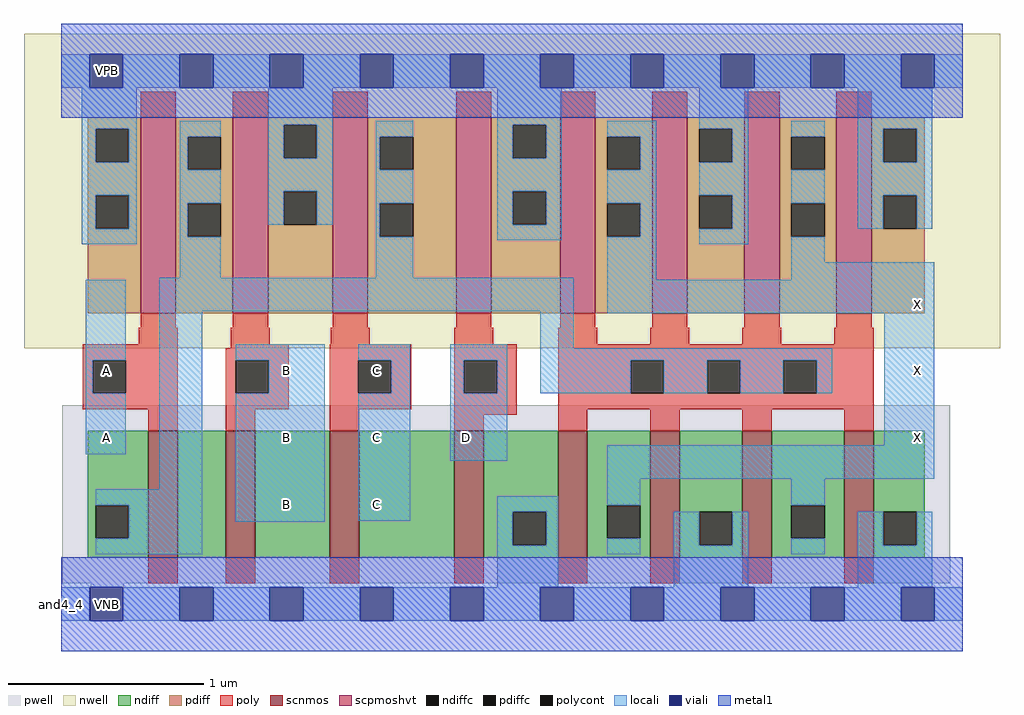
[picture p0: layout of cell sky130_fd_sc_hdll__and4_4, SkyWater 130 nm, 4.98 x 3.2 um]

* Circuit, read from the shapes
.subckt sky130_fd_sc_hdll__and4_4 A B C D VGND VNB VPB VPWR X
XM1 n1 A n2 VNB sky130_fd_pr__nfet_01v8 w=0.65 l=0.15
XM2 n3 B n1 VNB sky130_fd_pr__nfet_01v8 w=0.65 l=0.15
XM3 n4 C n3 VNB sky130_fd_pr__nfet_01v8 w=0.65 l=0.15
XM4 VGND D n4 VNB sky130_fd_pr__nfet_01v8 w=0.65 l=0.15
XM5 X n2 VGND VNB sky130_fd_pr__nfet_01v8 w=0.65 l=0.15 m=4
XM6 n2 A VPWR VPB sky130_fd_pr__pfet_01v8_hvt w=1 l=0.18
XM7 VPWR B n2 VPB sky130_fd_pr__pfet_01v8_hvt w=1 l=0.18
XM8 n2 C VPWR VPB sky130_fd_pr__pfet_01v8_hvt w=1 l=0.18
XM9 VPWR D n2 VPB sky130_fd_pr__pfet_01v8_hvt w=1 l=0.18
XM10 X n2 VPWR VPB sky130_fd_pr__pfet_01v8_hvt w=1 l=0.18 m=4
.ends

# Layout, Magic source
magic
tech sky130A
magscale 1 2
<< nwell >>
rect -38 261 958 582
<< pwell >>
rect 1 21 907 203
rect 30 -17 64 21
<< scnmos >>
rect 89 47 119 177
rect 168 47 198 177
rect 274 47 304 177
rect 401 47 431 177
rect 507 47 537 177
rect 601 47 631 177
rect 695 47 725 177
rect 799 47 829 177
<< scpmoshvt >>
rect 81 297 117 497
rect 175 297 211 497
rect 277 297 313 497
rect 403 297 439 497
rect 509 297 545 497
rect 603 297 639 497
rect 697 297 733 497
rect 791 297 827 497
<< ndiff >>
rect 27 101 89 177
rect 27 67 35 101
rect 69 67 89 101
rect 27 47 89 67
rect 119 47 168 177
rect 198 47 274 177
rect 304 47 401 177
rect 431 94 507 177
rect 431 60 461 94
rect 495 60 507 94
rect 431 47 507 60
rect 537 101 601 177
rect 537 67 557 101
rect 591 67 601 101
rect 537 47 601 67
rect 631 94 695 177
rect 631 60 651 94
rect 685 60 695 94
rect 631 47 695 60
rect 725 101 799 177
rect 725 67 745 101
rect 779 67 799 101
rect 725 47 799 67
rect 829 94 881 177
rect 829 60 839 94
rect 873 60 881 94
rect 829 47 881 60
<< pdiff >>
rect 27 485 81 497
rect 27 451 35 485
rect 69 451 81 485
rect 27 417 81 451
rect 27 383 35 417
rect 69 383 81 417
rect 27 297 81 383
rect 117 477 175 497
rect 117 443 129 477
rect 163 443 175 477
rect 117 409 175 443
rect 117 375 129 409
rect 163 375 175 409
rect 117 297 175 375
rect 211 489 277 497
rect 211 455 227 489
rect 261 455 277 489
rect 211 421 277 455
rect 211 387 227 421
rect 261 387 277 421
rect 211 297 277 387
rect 313 477 403 497
rect 313 443 325 477
rect 359 443 403 477
rect 313 409 403 443
rect 313 375 325 409
rect 359 375 403 409
rect 313 297 403 375
rect 439 489 509 497
rect 439 455 461 489
rect 495 455 509 489
rect 439 421 509 455
rect 439 387 461 421
rect 495 387 509 421
rect 439 297 509 387
rect 545 477 603 497
rect 545 443 557 477
rect 591 443 603 477
rect 545 409 603 443
rect 545 375 557 409
rect 591 375 603 409
rect 545 297 603 375
rect 639 485 697 497
rect 639 451 651 485
rect 685 451 697 485
rect 639 417 697 451
rect 639 383 651 417
rect 685 383 697 417
rect 639 297 697 383
rect 733 477 791 497
rect 733 443 745 477
rect 779 443 791 477
rect 733 409 791 443
rect 733 375 745 409
rect 779 375 791 409
rect 733 297 791 375
rect 827 485 881 497
rect 827 451 839 485
rect 873 451 881 485
rect 827 417 881 451
rect 827 383 839 417
rect 873 383 881 417
rect 827 297 881 383
<< ndiffc >>
rect 35 67 69 101
rect 461 60 495 94
rect 557 67 591 101
rect 651 60 685 94
rect 745 67 779 101
rect 839 60 873 94
<< pdiffc >>
rect 35 451 69 485
rect 35 383 69 417
rect 129 443 163 477
rect 129 375 163 409
rect 227 455 261 489
rect 227 387 261 421
rect 325 443 359 477
rect 325 375 359 409
rect 461 455 495 489
rect 461 387 495 421
rect 557 443 591 477
rect 557 375 591 409
rect 651 451 685 485
rect 651 383 685 417
rect 745 443 779 477
rect 745 375 779 409
rect 839 451 873 485
rect 839 383 873 417
<< poly >>
rect 81 497 117 523
rect 175 497 211 523
rect 277 497 313 523
rect 403 497 439 523
rect 509 497 545 523
rect 603 497 639 523
rect 697 497 733 523
rect 791 497 827 523
rect 81 282 117 297
rect 175 282 211 297
rect 277 282 313 297
rect 403 282 439 297
rect 509 282 545 297
rect 603 282 639 297
rect 697 282 733 297
rect 791 282 827 297
rect 79 265 119 282
rect 22 249 119 265
rect 173 265 213 282
rect 275 265 315 282
rect 401 265 441 282
rect 507 265 547 282
rect 601 265 641 282
rect 695 265 735 282
rect 789 265 829 282
rect 173 261 232 265
rect 22 215 32 249
rect 66 215 119 249
rect 22 199 119 215
rect 89 177 119 199
rect 168 249 232 261
rect 168 215 178 249
rect 212 215 232 249
rect 168 199 232 215
rect 274 249 357 265
rect 274 215 303 249
rect 337 215 357 249
rect 274 199 357 215
rect 401 249 465 265
rect 401 215 411 249
rect 445 215 465 249
rect 168 177 198 199
rect 274 177 304 199
rect 401 193 465 215
rect 507 249 829 265
rect 507 215 581 249
rect 615 215 659 249
rect 693 215 737 249
rect 771 215 829 249
rect 507 199 829 215
rect 401 177 431 193
rect 507 177 537 199
rect 601 177 631 199
rect 695 177 725 199
rect 799 177 829 199
rect 89 21 119 47
rect 168 21 198 47
rect 274 21 304 47
rect 401 21 431 47
rect 507 21 537 47
rect 601 21 631 47
rect 695 21 725 47
rect 799 21 829 47
<< polycont >>
rect 32 215 66 249
rect 178 215 212 249
rect 303 215 337 249
rect 411 215 445 249
rect 581 215 615 249
rect 659 215 693 249
rect 737 215 771 249
<< locali >>
rect 0 527 29 561
rect 63 527 121 561
rect 155 527 213 561
rect 247 527 305 561
rect 339 527 397 561
rect 431 527 489 561
rect 523 527 581 561
rect 615 527 673 561
rect 707 527 765 561
rect 799 527 857 561
rect 891 527 920 561
rect 21 485 77 527
rect 21 451 35 485
rect 69 451 77 485
rect 21 417 77 451
rect 21 383 35 417
rect 69 383 77 417
rect 21 367 77 383
rect 121 477 163 493
rect 121 443 129 477
rect 121 409 163 443
rect 121 375 129 409
rect 211 489 277 527
rect 211 455 227 489
rect 261 455 277 489
rect 211 421 277 455
rect 211 387 227 421
rect 261 387 277 421
rect 321 477 359 493
rect 321 443 325 477
rect 321 409 359 443
rect 121 333 163 375
rect 321 375 325 409
rect 321 333 359 375
rect 445 489 511 527
rect 445 455 461 489
rect 495 455 511 489
rect 445 421 511 455
rect 445 387 461 421
rect 495 387 511 421
rect 445 371 511 387
rect 557 477 607 493
rect 591 443 607 477
rect 557 409 607 443
rect 591 375 607 409
rect 25 249 66 331
rect 25 215 32 249
rect 25 153 66 215
rect 100 299 523 333
rect 100 117 144 299
rect 35 101 144 117
rect 69 67 144 101
rect 178 249 269 265
rect 212 215 269 249
rect 178 84 269 215
rect 303 249 356 265
rect 337 215 356 249
rect 303 85 356 215
rect 397 249 455 265
rect 397 215 411 249
rect 445 215 455 249
rect 489 261 523 299
rect 557 331 607 375
rect 651 485 701 527
rect 685 451 701 485
rect 651 417 701 451
rect 685 383 701 417
rect 651 367 701 383
rect 745 477 779 493
rect 745 409 779 443
rect 813 485 889 527
rect 813 451 839 485
rect 873 451 889 485
rect 813 417 889 451
rect 813 383 839 417
rect 873 383 889 417
rect 745 349 779 375
rect 745 331 891 349
rect 557 297 891 331
rect 489 249 787 261
rect 489 215 581 249
rect 615 215 659 249
rect 693 215 737 249
rect 771 215 787 249
rect 397 146 455 215
rect 840 162 891 297
rect 557 128 891 162
rect 445 94 507 110
rect 35 51 144 67
rect 445 60 461 94
rect 495 60 507 94
rect 445 17 507 60
rect 557 101 591 128
rect 745 101 779 128
rect 557 51 591 67
rect 625 60 651 94
rect 685 60 701 94
rect 625 17 701 60
rect 745 51 779 67
rect 813 60 839 94
rect 873 60 889 94
rect 813 17 889 60
rect 0 -17 29 17
rect 63 -17 121 17
rect 155 -17 213 17
rect 247 -17 305 17
rect 339 -17 397 17
rect 431 -17 489 17
rect 523 -17 581 17
rect 615 -17 673 17
rect 707 -17 765 17
rect 799 -17 857 17
rect 891 -17 920 17
<< viali >>
rect 29 527 63 561
rect 121 527 155 561
rect 213 527 247 561
rect 305 527 339 561
rect 397 527 431 561
rect 489 527 523 561
rect 581 527 615 561
rect 673 527 707 561
rect 765 527 799 561
rect 857 527 891 561
rect 29 -17 63 17
rect 121 -17 155 17
rect 213 -17 247 17
rect 305 -17 339 17
rect 397 -17 431 17
rect 489 -17 523 17
rect 581 -17 615 17
rect 673 -17 707 17
rect 765 -17 799 17
rect 857 -17 891 17
<< metal1 >>
rect 0 561 920 592
rect 0 527 29 561
rect 63 527 121 561
rect 155 527 213 561
rect 247 527 305 561
rect 339 527 397 561
rect 431 527 489 561
rect 523 527 581 561
rect 615 527 673 561
rect 707 527 765 561
rect 799 527 857 561
rect 891 527 920 561
rect 0 496 920 527
rect 0 17 920 48
rect 0 -17 29 17
rect 63 -17 121 17
rect 155 -17 213 17
rect 247 -17 305 17
rect 339 -17 397 17
rect 431 -17 489 17
rect 523 -17 581 17
rect 615 -17 673 17
rect 707 -17 765 17
rect 799 -17 857 17
rect 891 -17 920 17
rect 0 -48 920 -17
<< labels >>
flabel locali s 857 153 891 187 0 FreeSans 200 0 0 0 X
port 9 nsew signal output
flabel locali s 857 221 891 255 0 FreeSans 200 0 0 0 X
port 9 nsew signal output
flabel locali s 305 85 339 119 0 FreeSans 200 0 0 0 C
port 3 nsew signal input
flabel locali s 29 221 63 255 0 FreeSans 200 0 0 0 A
port 1 nsew signal input
flabel locali s 213 85 247 119 0 FreeSans 200 0 0 0 B
port 2 nsew signal input
flabel locali s 397 153 431 187 0 FreeSans 200 0 0 0 D
port 4 nsew signal input
flabel locali s 857 289 891 323 0 FreeSans 200 0 0 0 X
port 9 nsew signal output
flabel locali s 305 221 339 255 0 FreeSans 200 0 0 0 C
port 3 nsew signal input
flabel locali s 305 153 339 187 0 FreeSans 200 0 0 0 C
port 3 nsew signal input
flabel locali s 213 221 247 255 0 FreeSans 200 0 0 0 B
port 2 nsew signal input
flabel locali s 213 153 247 187 0 FreeSans 200 0 0 0 B
port 2 nsew signal input
flabel locali s 29 153 63 187 0 FreeSans 200 0 0 0 A
port 1 nsew signal input
flabel pwell s 30 -17 64 17 0 FreeSans 200 0 0 0 VNB
port 6 nsew ground bidirectional
flabel nwell s 30 527 64 561 0 FreeSans 200 0 0 0 VPB
port 7 nsew power bidirectional
flabel metal1 s 30 -17 64 17 0 FreeSans 200 0 0 0 VGND
port 5 nsew ground bidirectional
flabel metal1 s 30 527 64 561 0 FreeSans 200 0 0 0 VPWR
port 8 nsew power bidirectional
rlabel comment s 0 0 0 0 4 and4_4
<< properties >>
string LEFsite unithd
string LEFclass CORE
string FIXED_BBOX 0 0 920 544
string GDS_FILE $PDKPATH/libs.ref/sky130_fd_sc_hdll/gds/sky130_fd_sc_hdll.gds
string LEFsymmetry X Y R90
string GDS_END 1847586
string GDS_START 1839566
string LEFproperties maskLayoutSubType "abstract" prCellType "standard" originalViewName "layout"
<< end >>
